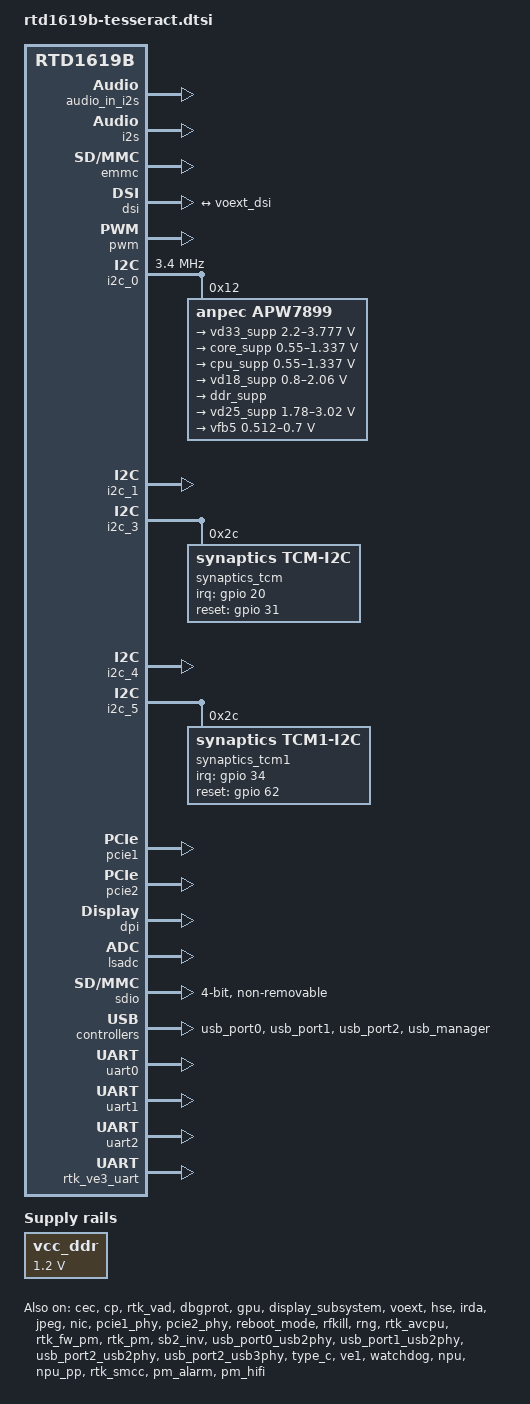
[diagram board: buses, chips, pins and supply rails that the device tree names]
// SPDX-License-Identifier: (GPL-2.0-or-later OR BSD-2-Clause)
/*
* Copyright (c) 2020-2024 Realtek Semiconductor Corp.
*/

/dts-v1/;

#include <dt-bindings/regulator/anpec,apw888x.h>
#include <dt-bindings/soc/realtek,pm.h>
#include <dt-bindings/thermal/thermal.h>
#include "rtd16xxb.dtsi"

/ {
	chosen {
		stdout-path = "serial0:460800n8";
		bootargs = "console=ttyS0,460800 8250.nr_uarts=3 init=/init loglevel=4 max_loop=64 loop.max_part=7";
	};

	aliases {
		serial0 = &uart0;
		serial1 = &uart1;
		serial2 = &uart2;
		rtc0 = &sw_rtc;
	};

	sw_rtc: sw-rtc {
		compatible = "realtek,emulated-rtc";
		realtek,ptime-reg = <&iso 0x64c>;
	};

	vcc_ddr: vcc1v2-ddr {
		compatible = "regulator-fixed";
		regulator-name = "vcc1v2-ddr";
		regulator-min-microvolt = <1200000>;
		regulator-max-microvolt = <1200000>;
	};
};

&audio_in_i2s {
	pinctrl-names = "default";
	pinctrl-0 = <&ai_loc0_pins>;
	status = "okay";
};

&audio_out {
	pinctrl-names = "default";
	pinctrl-0 = <&ao_pins>;
	audio-gpios = <&gpio 72 GPIO_ACTIVE_HIGH>;
	status = "okay";

	i2s {
		status = "okay";
		realtek,ao-i2s-channel = <2>;
	};
};

&cec {
	status = "okay";
};

&cp {
	status = "okay";
};

&sound_compr {
	status = "okay";
};

&rtk_vad {
	status = "okay";
};

&cpu0 {
	cpu-supply = <&cpu_supp>;
	operating-points-v2 = <&cpu_opps>;
	#cooling-cells = <2>;
};

&cpu1 {
	cpu-supply = <&cpu_supp>;
	operating-points-v2 = <&cpu_opps>;
	#cooling-cells = <2>;
};

&cpu2 {
	cpu-supply = <&cpu_supp>;
	operating-points-v2 = <&cpu_opps>;
	#cooling-cells = <2>;
};

&cpu3 {
	cpu-supply = <&cpu_supp>;
	operating-points-v2 = <&cpu_opps>;
	#cooling-cells = <2>;
};

&cpu_dvfs {
	fss,opp-updated = <0>;
	fss,volt-correct = <25000>;
	fss,volt-step = <25000>;
	fss,volt-min = <775000>;
	fss,volt-max = <1087500>;

	bsv,opp-updated = <0>;
	bsv,volt-correct = <137500 150000>;
	bsv,volt-step = <25000>;
	bsv,volt-min = <800000>;
	bsv,volt-max = <1087500>;

	cpu_opps: opp-table-cpu {
		compatible = "operating-points-v2";
		opp-shared;
		opp1000: opp-1000000000 {
			opp-hz = /bits/ 64 <1000000000>;
			opp-microvolt = <800000>;
			opp-microvolt-bsv = <0>;
			opp-microvolt-fss = <0>;
			clock-latency-ns = <150000>;
			status = "disabled";
		};

		opp1100: opp-1100000000 {
			opp-hz = /bits/ 64 <1100000000>;
			opp-microvolt = <825000>;
			opp-microvolt-fss = <0>;
			opp-microvolt-bsv = <0>;
			clock-latency-ns = <150000>;
			status = "okay";
		};

		opp1200: opp-1200000000 {
			opp-hz = /bits/ 64 <1200000000>;
			opp-microvolt = <850000>;
			opp-microvolt-fss = <0>;
			opp-microvolt-bsv = <0>;
			clock-latency-ns = <150000>;
			status = "okay";
		};

		opp1300: opp-1300000000 {
			opp-hz = /bits/ 64 <1300000000>;
			opp-microvolt = <875000>;
			opp-microvolt-fss = <0>;
			opp-microvolt-bsv = <0>;
			clock-latency-ns = <150000>;
			status = "okay";
		};

		opp1400: opp-1400000000 {
			opp-hz = /bits/ 64 <1400000000>;
			opp-microvolt = <900000>;
			opp-microvolt-fss = <0>;
			opp-microvolt-bsv = <0>;
			clock-latency-ns = <150000>;
			status = "okay";
		};

		opp1500: opp-1500000000 {
			opp-hz = /bits/ 64 <1500000000>;
			opp-microvolt = <937500>;
			opp-microvolt-fss = <0>;
			opp-microvolt-bsv = <0>;
			clock-latency-ns = <150000>;
			status = "okay";
		};

		opp1600: opp-1600000000 {
			opp-hz = /bits/ 64 <1600000000>;
			opp-microvolt = <987500>;
			opp-microvolt-fss = <0>;
			opp-microvolt-bsv = <0>;
			clock-latency-ns = <150000>;
			status = "okay";
		};

		opp1700: opp-1700000000 {
			opp-hz = /bits/ 64 <1700000000>;
			opp-microvolt = <1037500>;
			opp-microvolt-fss = <0>;
			opp-microvolt-bsv = <0>;
			clock-latency-ns = <150000>;
			opp-suspend;
			status = "okay";
		};
	};
};

&cpu_thermal {
	trips {
		cpu_alert0: cpu-alert0 {
			temperature = <90000>;
			hysteresis = <0>;
			type = "passive";
		};

		cpu_alert1: cpu-alert1 {
			temperature = <105000>;
			hysteresis = <0>;
			type = "passive";
		};
	};

	cooling-maps {
		cpu-map0 {
			trip = <&cpu_alert0>;
			cooling-device = <&cpu0 2 3>;
			contribution = <70>;
		};

		cpu-map1 {
			trip = <&cpu_alert1>;
			cooling-device = <&cpu0 4 THERMAL_NO_LIMIT>;
			contribution = <70>;
		};
	};
};

&cpu_tm {
	status = "okay";
};

&dbgprot {
	status = "okay";
};

&emmc {
	status = "okay";
};

&gpio {
	status = "okay";
};

&gpu {
	operating-points-v2 = <&gpu_opps>;
	status = "okay";

	gpu_opps: opp-table-gpu {
		compatible = "operating-points-v2",
			"operating-points-v2-mali";

		opp-450000000 {
			opp-hz = /bits/ 64 <450000000>;
			opp-hz-real = /bits/ 64 <450000000>;
			opp-microvolt = <800000>;
			opp-suspend;
		};

		opp-550000000 {
			opp-hz = /bits/ 64 <550000000>;
			opp-hz-real = /bits/ 64 <550000000>;
			opp-microvolt = <800000>;
		};

		opp-650000000 {
			opp-hz = /bits/ 64 <650000000>;
			opp-hz-real = /bits/ 64 <650000000>;
			opp-microvolt = <800000>;
		};

		opp-702000000 {
			opp-hz = /bits/ 64 <702000000>;
			opp-hz-real = /bits/ 64 <702000000>;
			opp-microvolt = <800000>;
		};
	};
};

&display_subsystem {
	ports = <&voext_out>, <&vo_out>;
	status = "okay";
};

&voext {
	status = "okay";
	voext_out: port {
		voext_dsi: endpoint {
			remote-endpoint = <&dsi_voext>;
		};
	};
};

&hdmi {
	hdmi5v-gpios = <&gpio 5 GPIO_ACTIVE_LOW>;
};

&cvbs {
	status = "disabled";
};

&dsi {
	status = "okay";

	pwms = <&pwm 0 37926>, <&pwm 1 37926>;
	pwm-names = "pwm-0", "pwm-1";

	display-timings {
		native-mode = <&timing0>;
		timing0: timing0 {

		};
	};

	ports {
		dsi_in: port@0 {
			dsi_voext: endpoint {
				remote-endpoint = <&voext_dsi>;
			};
		};
	};
};

&pwm {
	status = "okay";

	pwm_0 {
		enable = <1>;
		duty_rate = <50>;
	};

	pwm_1 {
		enable = <1>;
		duty_rate = <50>;
	};
};

&hse {
	status = "okay";
};

&i2c_0 {
	clock-frequency = <3400000>;
	pinctrl-0 = <&i2c_pins_0_HS>;
	status = "okay";

	apw7899: apw7899@12 {
		compatible = "anpec,apw7899";
		reg = <0x12>;

		regulators {
			compatible = "anpec,apw8886-regulator";

			vd33_supp: dc1 {
				regulator-name = "vd33";
				regulator-min-microvolt = <2200000>;
				regulator-max-microvolt = <3777500>;

				regulator-boot-on;
				regulator-always-on;
				regulator-initial-mode = <APW888X_DC_MODE_AUTO>;
				regulator-state-mem {
					regulator-on-in-suspend;
					regulator-suspend-microvolt = <3300000>;
				};
			};

			core_supp: dc2 {
				regulator-name = "core";
				regulator-min-microvolt = <550000>;
				regulator-max-microvolt = <1337500>;

				regulator-boot-on;
				regulator-always-on;
				regulator-initial-mode = <APW888X_DC_MODE_AUTO>;
				regulator-state-mem {
					regulator-on-in-suspend;
					regulator-suspend-microvolt = <800000>;
				};
			};

			cpu_supp: dc3 {
				regulator-name = "cpudvs";
				regulator-min-microvolt = <550000>;
				regulator-max-microvolt = <1337500>;

				regulator-boot-on;
				regulator-always-on;
				regulator-initial-mode = <APW888X_DC_MODE_AUTO>;
				regulator-ramp-delay = <625>;
				apw888x-disabled-in-shutdown;

				regulator-state-mem {
					regulator-off-in-suspend;
					regulator-changeable-in-suspend;
				};
			};

			vd18_supp: dc4 {
				regulator-name = "vd18";
				regulator-min-microvolt = <800000>;
				regulator-max-microvolt = <2060000>;

				regulator-boot-on;
				regulator-always-on;
				regulator-initial-mode = <APW888X_DC_MODE_AUTO>;
				regulator-state-mem {
					regulator-on-in-suspend;
				};
			};

			ddr_supp: dc5 {
				regulator-name = "ddr";
				regulator-boot-on;
				regulator-always-on;
				regulator-initial-mode = <APW888X_DC_MODE_AUTO>;
				vin-supply = <&vcc_ddr>;
				apw888x-disabled-in-shutdown;

				regulator-state-mem {
					regulator-on-in-suspend;
				};
			};

			vd25_supp: ldo1 {
				regulator-name = "vd25";
				regulator-min-microvolt = <1780000>;
				regulator-max-microvolt = <3020000>;

				regulator-boot-on;
				regulator-always-on;
				regulator-initial-mode = <APW888X_LDO_MODE_NORMAL>;
				regulator-state-mem {
					regulator-on-in-suspend;
				};
			};

			vfb5 {
				regulator-name = "vfb5";
				regulator-min-microvolt = <512500>;
				regulator-max-microvolt = <700000>;

				regulator-boot-on;
				regulator-always-on;
				regulator-state-mem {
					regulator-on-in-suspend;
				};
			};
		};
	};
};

&i2c_1 {
	status = "okay";
};

&i2c_3 {
	status = "okay";

	synaptics_tcm@2c{
		compatible = "synaptics,tcm-i2c";
		reg = <0x2c>;

		synaptics,avdd-name = "avdd";
		synaptics,vdd-name = "vdd";
		synaptics,power-delay-ms = <200>;
		synaptics,irq-gpio = <&gpio 20 IRQ_TYPE_EDGE_FALLING>;
		synaptics,irq-on-state = <0>;
		synaptics,reset-gpio = <&gpio 31 0x0>;
		synaptics,reset-on-state = <0>;
		synaptics,reset-active-ms = <20>;
		synaptics,reset-delay-ms = <200>;
	};
};

&i2c_4 {
	status = "okay";
};

&i2c_5 {
	status = "okay";

	synaptics_tcm1@2c{
		compatible = "synaptics,tcm1-i2c";
		reg = <0x2c>;

		synaptics,avdd-name = "avdd";
		synaptics,vdd-name = "vdd";
		synaptics,power-delay-ms = <200>;
		synaptics,irq-gpio = <&gpio 34 IRQ_TYPE_EDGE_FALLING>;
		synaptics,irq-on-state = <0>;
		synaptics,reset-gpio = <&gpio 62 0x0>;
		synaptics,reset-on-state = <0>;
		synaptics,reset-active-ms = <20>;
		synaptics,reset-delay-ms = <200>;
	};
};

&irda {
	wakeup-key = <116>,<148>;
	status = "okay";
};

&jpeg {
	status = "okay";
};

&nic {
	status = "okay";
};

&pcie1 {
	status = "okay";
};

&pcie1_phy {
	status = "okay";
};

&pcie2 {
	status = "okay";
};

&pcie2_phy {
	status = "okay";
};

&pwr_ve1 {
	assigned-clock-rates = <540000000>;
};

&dpi {
	status = "okay";

	zq-cal {
		status = "okay";
	};
};

&reboot_mode {
	status = "okay";
};

&rfkill {
	rfkill-gpios = <&gpio 6 GPIO_ACTIVE_HIGH>;
	status = "okay";
};

&lsadc {
	status = "okay";
};

&rng {
	status = "okay";
};

&rtk_avcpu {
	status = "okay";
};

&rtk_fw_pm {
	status = "okay";
};

&rtk_pm {
	wakeup-flags = <NORMAL_MODE>;
	wakeup-gpio-list = <2 GPIO_WAKEUP_ENABLE GPIO_WAKEUP_ACTIVE_LOW>,
			   <4 GPIO_WAKEUP_ENABLE GPIO_WAKEUP_ACTIVE_LOW>,
			   <26 GPIO_WAKEUP_ENABLE GPIO_WAKEUP_ACTIVE_LOW>;
	wakeup-timer = <0>;
	dco = <DCO_DISABLE>;
	rtk-bt = <255>; /* for Realtek bluetooth only */
	status = "okay";
};

&sb2_inv {
	status = "okay";
};

&sdio {
	bus-width = <4>;
	non-removable;
	cap-sd-highspeed;
	cap-mmc-highspeed;
	sd-uhs-sdr12;
	sd-uhs-sdr25;
	sd-uhs-sdr50;
	sd-uhs-sdr104;
	keep-power-in-suspend;
	enable-sdio-wakeup;
	no-sd;
	no-mmc;
	status = "okay";
};

&sound {
	status = "okay";
};

&tp {
	status = "disabled";
};

&usb_port0_usb2phy {
	status = "okay";
};

&usb_port0 {
	status = "okay";
};

&usb_port1_usb2phy {
	status = "okay";
};

&usb_port1 {
	realtek,power-gpio = <&gpio 74 GPIO_ACTIVE_LOW>;
	status = "okay";
};

&usb_port2_usb2phy {
	status = "okay";
};

&usb_port2_usb3phy {
	status = "okay";
};

&usb_port2 {
	realtek,power-gpio = <&gpio 49 GPIO_ACTIVE_LOW>;
	status = "okay";
};

&type_c {
	realtek,plug-side-switch-gpio = <&gpio 53 GPIO_ACTIVE_HIGH>;
	status = "okay";
};

&gpio_manager {
	default-gpios = <&gpio 48 GPIO_ACTIVE_HIGH>;
	default-gpios-state = <0>;
	change-gpios = <&gpio 48 GPIO_ACTIVE_HIGH>;
	change-gpios-value = <1>;
	status = "okay";
};

/* debug console (J1) */
&uart0 {
	status = "okay";
};

/* M.2 slot (CON2) */
&uart1 {
	status = "okay";
};

&uart2 {
	status = "okay";
};

&usb_manager {
	status = "okay";
};

&ve1 {
	status = "okay";
};

&watchdog {
	status = "okay";
};

&npu {
	status = "okay";
};

&npu_pp  {
	status = "okay";
};

&rtk_smcc {
	status = "okay";
};

&pm_alarm {
	status = "okay";
};

&rtk_ve3_uart {
	status = "okay";
};

&pm_hifi {
	hifi-supply = <&cpu_supp>;
	status = "okay";
};
